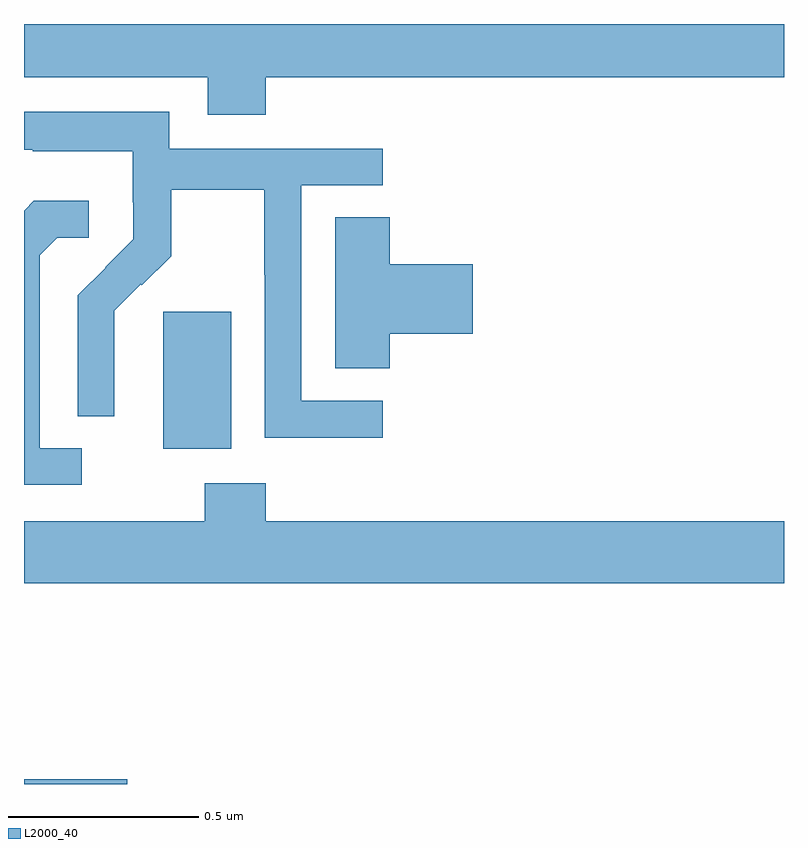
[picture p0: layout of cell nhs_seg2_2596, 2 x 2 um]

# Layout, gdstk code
import gdstk
lib = gdstk.Library(unit=1e-6, precision=1e-09)
def R(c, l, rs):  # rectangles x0, y0, x1, y1
    for r in rs: c.add(gdstk.rectangle(r[:2], r[2:], *l))
def P(c, l, *ps):  # polygons
    for p in ps: c.add(gdstk.Polygon(p, *l))
L2000_40 = (2000, 40)

nhs_seg2_2596 = lib.new_cell('nhs_seg2_2596')
R(nhs_seg2_2596, L2000_40, [(143,621.8,143.272,621.812), (143.366,622.682,143.545,623.043)])
P(nhs_seg2_2596, L2000_40, [(143.636,623.66),(145,623.66),(145,623.8),(143,623.8),(143,623.66),(143.483,623.66),(143.483,623.561),(143.636,623.561)],
  [(143.944,622.809),(143.73,622.809),(143.73,623.376),(143.944,623.376),(143.944,623.472),(143.382,623.472),(143.382,623.569),(143,623.569),(143,623.469),(143.023,623.469),(143.023,623.465),(143.286,623.465),(143.286,623.331),(143.288,623.331),(143.288,623.234),(143.214,623.16),(143.215,623.159),(143.142,623.086),(143.142,622.768),(143.238,622.768),(143.238,622.922),(143.237,622.922),(143.237,623.045),(143.307,623.115),(143.31,623.112),(143.387,623.189),(143.387,623.364),(143.632,623.364),(143.632,623.14),(143.634,623.14),(143.634,622.711),(143.944,622.711)],
  [(143.152,622.683),(143.041,622.683),(143.041,623.191),(143.088,623.238),(143.17,623.238),(143.17,623.335),(143.026,623.335),(143,623.309),(143,622.587),(143.152,622.587)],
  [(143.963,622.985),(144.181,622.985),(144.181,623.168),(143.963,623.168),(143.963,623.291),(143.819,623.291),(143.819,622.894),(143.963,622.894)],
  [(145,622.492),(143.636,622.492),(143.636,622.591),(143.476,622.591),(143.476,622.492),(143,622.492),(143,622.328),(145,622.328)])

lib.write_gds('nhs_seg2_2596.gds')
